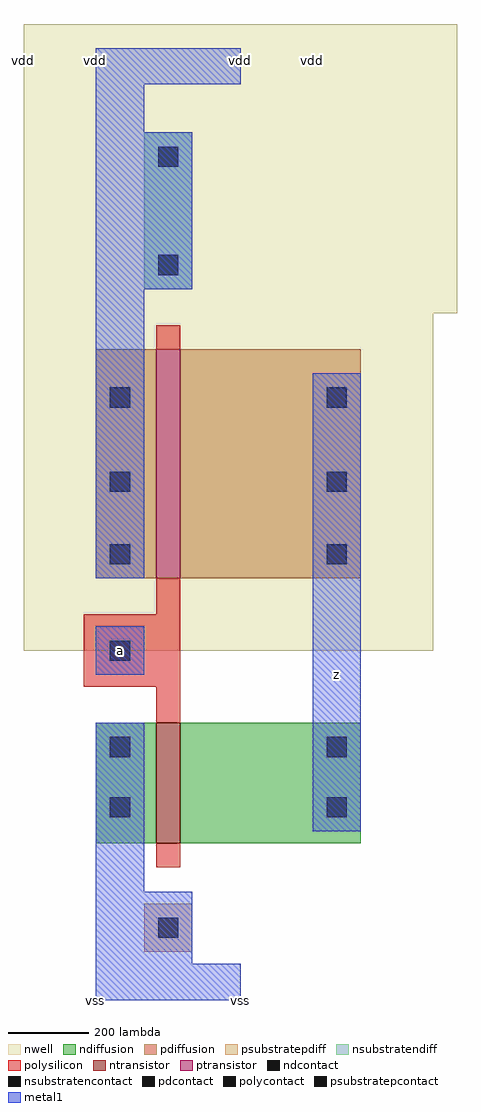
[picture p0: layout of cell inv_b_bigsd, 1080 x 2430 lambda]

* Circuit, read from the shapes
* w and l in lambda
.subckt inv_b_bigsd z a vdd vss
M1 z a vss vss nfet w=300 l=60
M2 z a vdd vdd pfet w=570 l=60
.ends

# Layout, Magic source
magic
tech amic5n
<< nwell >>
rect 0 1710 1080 2430
rect 0 870 1020 1710
<< ntransistor >>
rect 330 390 390 690
<< ptransistor >>
rect 330 1050 390 1620
<< ndiffusion >>
rect 180 390 330 690
rect 390 390 840 690
<< pdiffusion >>
rect 180 1050 330 1620
rect 390 1050 840 1620
<< psubstratepdiff >>
rect 300 120 420 240
<< nsubstratendiff >>
rect 300 1770 420 2160
<< polysilicon >>
rect 330 1620 390 1680
rect 330 960 390 1050
rect 150 780 390 960
rect 330 690 390 780
rect 330 330 390 390
<< nsubstratencontact >>
rect 335 2075 385 2125
<< nsubstratencontact >>
rect 335 1805 385 1855
<< pdcontact >>
rect 215 1475 265 1525
<< pdcontact >>
rect 755 1475 805 1525
<< pdcontact >>
rect 215 1265 265 1315
<< pdcontact >>
rect 755 1265 805 1315
<< pdcontact >>
rect 215 1085 265 1135
<< pdcontact >>
rect 755 1085 805 1135
<< polycontact >>
rect 215 845 265 895
<< ndcontact >>
rect 215 605 265 655
<< ndcontact >>
rect 755 605 805 655
<< ndcontact >>
rect 215 455 265 505
<< ndcontact >>
rect 755 455 805 505
<< psubstratepcontact >>
rect 335 155 385 205
<< metal1 >>
rect 180 2280 540 2370
rect 180 2160 300 2280
rect 180 1770 420 2160
rect 180 1050 300 1770
rect 180 810 300 930
rect 180 270 300 690
rect 720 420 840 1560
rect 180 90 420 270
rect 180 0 540 90
<< labels >>
flabel metal1 s 240 870 240 870 2 FreeSans 400 0 0 0 a
port 2 ne
flabel nwell s 720 2340 720 2340 8 FreeSans 400 0 0 0 vdd
flabel nwell s 0 2340 0 2340 2 FreeSans 400 0 0 0 vdd
flabel metal1 s 180 2340 180 2340 2 FreeSans 400 0 0 0 vdd
port 3 ne
flabel metal1 s 540 2340 540 2340 8 FreeSans 400 0 0 0 vdd
flabel metal1 s 180 0 180 0 2 FreeSans 400 0 0 0 vss
port 4 ne
flabel metal1 s 540 0 540 0 8 FreeSans 400 0 0 0 vss
flabel metal1 s 780 810 780 810 2 FreeSans 400 0 0 0 z
port 1 ne
<< end >>
